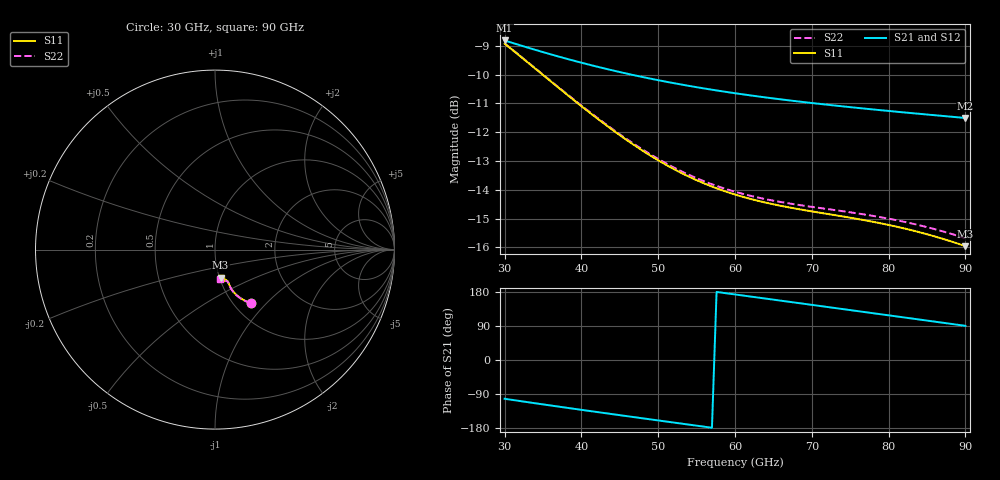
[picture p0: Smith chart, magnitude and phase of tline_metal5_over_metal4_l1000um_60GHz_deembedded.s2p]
! Created with skrf 2.0.1 (http://scikit-rf.org).
# GHz S DB R 50.0
!freq dBS11 angS11 dBS21 angS21 dBS12 angS12 dBS22 angS22
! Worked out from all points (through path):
!   101 points, 30 GHz to 90 GHz, reference 50 ohm
!   highest |S21| = -8.81 dB at 30 GHz (marker M1); lowest = -11.5 dB at 90 GHz (marker M2)
!   group delay of S21, straight-line fit = 7.7 ps
!   lowest |S11| = -16.0 dB at 90 GHz (marker M3), VSWR 1.38, Z = 50.6 - j16.2 ohm
!   |S11| at or under -10 dB: 34.95 GHz to end of sweep
!   |S22| runs from -15.7 to -8.9 dB; largest |S21 - S12| = 5e-13
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30  -8.92 -56.1  -8.81 -102.3  -8.81 -102.3  -8.91 -56.2
33  -9.57 -59.3  -9.06 -111.2  -9.06 -111.2  -9.56 -59.5
35.4  -10.10 -61.5  -9.25 -118.3  -9.25 -118.3  -10.09 -61.7
37.8  -10.62 -63.4  -9.43 -125.2  -9.43 -125.2  -10.61 -63.5
40.2  -11.14 -64.9  -9.60 -132.1  -9.60 -132.1  -11.12 -65.0
42.6  -11.63 -66.0  -9.76 -138.9  -9.76 -138.9  -11.61 -66.2
45  -12.10 -66.9  -9.91 -145.6  -9.91 -145.6  -12.07 -67.0
47.4  -12.54 -67.4  -10.05 -152.3  -10.05 -152.3  -12.50 -67.6
50.4  -13.04 -67.8  -10.21 -160.6  -10.21 -160.6  -12.99 -68.0
52.8  -13.39 -68.0  -10.33 -167.2  -10.33 -167.2  -13.33 -68.1
55.2  -13.69 -68.0  -10.44 -173.8  -10.44 -173.8  -13.62 -68.2
57.6  -13.95 -68.0  -10.55 179.6  -10.55 179.6  -13.87 -68.2
60  -14.17 -68.0  -10.64 173.0  -10.64 173.0  -14.07 -68.3
64.8  -14.49 -68.3  -10.82 159.8  -10.82 159.8  -14.37 -68.7
67.2  -14.62 -68.7  -10.90 153.2  -10.90 153.2  -14.48 -69.2
70.2  -14.76 -69.4  -10.99 145.0  -10.99 145.0  -14.60 -70.0
75.6  -15.00 -71.4  -11.15 130.1  -11.15 130.1  -14.81 -72.2
80.4  -15.25 -73.7  -11.27 116.8  -11.27 116.8  -15.03 -74.8
82.8  -15.39 -74.9  -11.33 110.1  -11.33 110.1  -15.16 -76.2
85.2  -15.56 -76.3  -11.39 103.5  -11.39 103.5  -15.31 -77.7
87.6  -15.75 -77.6  -11.45 96.8  -11.45 96.8  -15.49 -79.3
90  -15.96 -78.9  -11.51 90.2  -11.51 90.2  -15.69 -80.8
